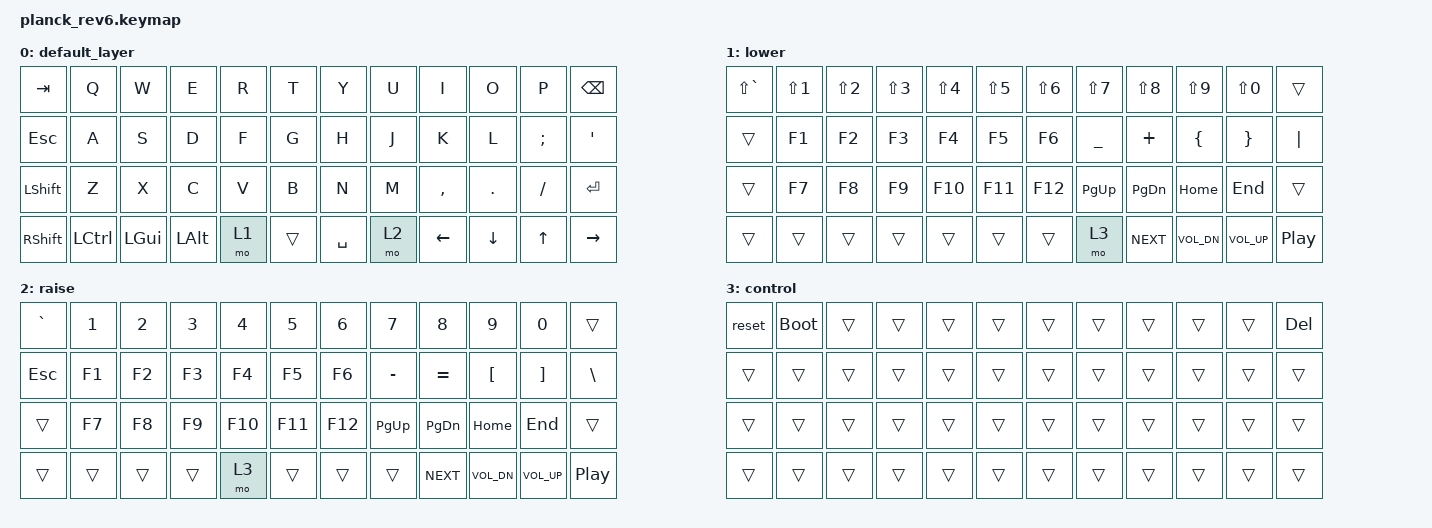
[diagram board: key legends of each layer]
/*
 * Copyright (c) 2020 The ZMK Contributors
 *
 * SPDX-License-Identifier: MIT
 */

#include <behaviors.dtsi>
#include <dt-bindings/zmk/keys.h>
#include <dt-bindings/zmk/dynamic-macros.h>

/ {
    macros {
        dyn: dyn {
			// Usage:
			// 	&dyn RECORD
			// 	&dyn PLAY

            label = "ZM_dynamic-macro";
            compatible = "zmk,behavior-dynamic-macro";
            #binding-cells = <1>;
			// no-output; // do not forward keystrokes to the host while recording
			wait-ms = <10>; // disable so that recorded macros play back in the same speed they were recorded at
        };
    };
};

/ {
	keymap {
		compatible = "zmk,keymap";

		default_layer {
			//┌────────────┬────────────┬───────────┬───────────┬────────┬─────────┬────────────┬────────┬────────────┬───────────┬───────────┬───────────┐
			//│ TAB        │ Q          │ W         │ E         │ R      │ T       │ Y          │ U      │ I          │ O         │ P         │ BSPC      │
			//├────────────┼────────────┼───────────┼───────────┼────────┼─────────┼────────────┼────────┼────────────┼───────────┼───────────┼───────────┤
			//│ ESC        │ A          │ S         │ D         │ F      │ G       │ H          │ J      │ K          │ L         │ ;         │ '         │
			//├────────────┼────────────┼───────────┼───────────┼────────┼─────────┼────────────┼────────┼────────────┼───────────┼───────────┼───────────┤
			//│ SHIFT      │ Z          │ X         │ C         │ V      │ B       │ N          │ M      │ ,          │ .         │ /         │ ENTER     │
			//├────────────┼────────────┼───────────┼───────────┼────────┼─────────┴────────────┼────────┼────────────┼───────────┼───────────┼───────────┤
			//│ RSHIFT     │ LCTL       │ LGUI      │ LALT      │ LOWER  │       SPACE          │ RAISE  │ LEFT       │ DOWN      │ UP        │ RIGHT     │
			//└────────────┴────────────┴───────────┴───────────┴────────┴──────────────────────┴────────┴────────────┴───────────┴───────────┴───────────┘

			bindings = <
				&kp TAB      &kp Q        &kp W       &kp E       &kp R    &kp T     &kp Y        &kp U    &kp I        &kp O       &kp P       &kp BSPC
				&kp ESC      &kp A        &kp S       &kp D       &kp F    &kp G     &kp H        &kp J    &kp K        &kp L       &kp SEMI    &kp SQT
				&kp LSHFT    &kp Z        &kp X       &kp C       &kp V    &kp B     &kp N        &kp M    &kp COMMA    &kp DOT     &kp FSLH    &kp RET
				&kp RSHFT    &kp LCTRL    &kp LGUI    &kp LALT    &mo 1    &trans    &kp SPACE    &mo 2    &kp LEFT     &kp DOWN    &kp UP      &kp RIGHT
			>;
		};

		lower {
			//┌────────────────┬─────────────┬─────────────┬─────────────┬─────────────┬─────────────┬──────────────┬────────────┬─────────────┬───────────────┬───────────────┬───────────┐
			//│ ~              │ !           │ @           │ #           │ $           │ %           │ ^            │ &          │ *           │ (             │ )             │           │
			//├────────────────┼─────────────┼─────────────┼─────────────┼─────────────┼─────────────┼──────────────┼────────────┼─────────────┼───────────────┼───────────────┼───────────┤
			//│                │ F1          │ F2          │ F3          │ F4          │ F5          │ F6           │ J          │ K           │ L             │ ;             │ PIPE      │
			//├────────────────┼─────────────┼─────────────┼─────────────┼─────────────┼─────────────┼──────────────┼────────────┼─────────────┼───────────────┼───────────────┼───────────┤
			//│                │ F7          │ F8          │ F9          │ F10         │ F11         │ F12          │ PAGEUP     │ PAGEDN      │ HOME          │ END           │           │
			//├────────────────┼─────────────┼─────────────┼─────────────┼─────────────┼─────────────┴──────────────┼────────────┼─────────────┼───────────────┼───────────────┼───────────┤
			//│                │             │             │             │             │                            │ CONTROL    │ NEXT        │ VOLDN         │ VOLUP         │ PAUSE     │
			//└────────────────┴─────────────┴─────────────┴─────────────┴─────────────┴────────────────────────────┴────────────┴─────────────┴───────────────┴───────────────┴───────────┘

			bindings = <
				&kp LS(GRAVE)    &kp LS(N1)    &kp LS(N2)    &kp LS(N3)    &kp LS(N4)    &kp LS(N5)    &kp LS(N6)    &kp LS(N7)    &kp LS(N8)    &kp LS(N9)      &kp LS(N0)      &trans
				&trans           &kp F1        &kp F2        &kp F3        &kp F4        &kp F5        &kp F6        &kp UNDER     &kp PLUS      &kp LBRC        &kp RBRC        &kp PIPE
				&trans           &kp F7        &kp F8        &kp F9        &kp F10       &kp F11       &kp F12       &kp PG_UP     &kp PG_DN     &kp HOME        &kp END         &trans
				&trans           &trans        &trans        &trans        &trans        &trans        &trans        &mo 3         &kp C_NEXT    &kp C_VOL_DN    &kp C_VOL_UP    &kp C_PP
			>;
		};


		raise {
			//┌────────────┬─────────┬─────────┬─────────┬──────────┬──────────┬──────────┬────────────┬─────────────┬───────────────┬───────────────┬───────────┐
			//│ `          │ 1       │ 2       │ 3       │ 4        │ 5        │ 6        │ 7          │ 8           │ 9             │ 0             │           │
			//├────────────┼─────────┼─────────┼─────────┼──────────┼──────────┼──────────┼────────────┼─────────────┼───────────────┼───────────────┼───────────┤
			//│            │ F1      │ F2      │ F3      │ F4       │ F5       │ F6       │ -          │ =           │ [             │ ]             │ \         │
			//├────────────┼─────────┼─────────┼─────────┼──────────┼──────────┼──────────┼────────────┼─────────────┼───────────────┼───────────────┼───────────┤
			//│            │ F7      │ F8      │ F9      │ F10      │ F11      │ F12      │ PAGEUP     │ PAGEDN      │ HOME          │ END           │           │
			//├────────────┼─────────┼─────────┼─────────┼──────────┼──────────┴──────────┼────────────┼─────────────┼───────────────┼───────────────┼───────────┤
			//│            │         │         │         │ CONTROL  │                     │            │ NEXT        │ VOLDN         │ VOLUP         │ PAUSE     │
			//└────────────┴─────────┴─────────┴─────────┴──────────┴─────────────────────┴────────────┴─────────────┴───────────────┴───────────────┴───────────┘

			bindings = <
				&kp GRAVE    &kp N1    &kp N2    &kp N3    &kp N4     &kp N5     &kp N6     &kp N7       &kp N8        &kp N9          &kp N0          &trans
				&kp ESC      &kp F1    &kp F2    &kp F3    &kp F4     &kp F5     &kp F6     &kp MINUS    &kp EQUAL     &kp LBKT        &kp RBKT        &kp BSLH
				&trans       &kp F7    &kp F8    &kp F9    &kp F10    &kp F11    &kp F12    &kp PG_UP    &kp PG_DN     &kp HOME        &kp END         &trans
				&trans       &trans    &trans    &trans    &mo 3      &trans     &trans     &trans       &kp C_NEXT    &kp C_VOL_DN    &kp C_VOL_UP    &kp C_PP
			>;
		};

		control {
			//┌─────────┬──────────────┬─────────┬─────────┬─────────┬─────────┬─────────┬─────────┬─────────┬─────────┬─────────┬─────────┐
			//│ RESET   │ BOOTLOADER   │         │         │         │         │         │         │         │         │         │ DEL     │
			//├─────────┼──────────────┼─────────┼─────────┼─────────┼─────────┼─────────┼─────────┼─────────┼─────────┼─────────┼─────────┤
			//│         │              │         │         │         │         │         │         │         │         │         │         │
			//├─────────┼──────────────┼─────────┼─────────┼─────────┼─────────┼─────────┼─────────┼─────────┼─────────┼─────────┼─────────┤
			//│         │              │         │         │         │         │         │         │         │         │         │         │
			//├─────────┼──────────────┼─────────┼─────────┼─────────┼─────────┴─────────┼─────────┼─────────┼─────────┼─────────┼─────────┤
			//│         │              │         │         │         │                   │         │         │         │         │         │
			//└─────────┴──────────────┴─────────┴─────────┴─────────┴───────────────────┴─────────┴─────────┴─────────┴─────────┴─────────┘

			bindings = <
				&reset    &bootloader    &trans    &trans    &trans    &trans    &trans    &trans    &trans    &trans    &trans    &kp DEL
				&trans    &trans         &trans    &trans    &trans    &trans    &trans    &trans    &trans    &trans    &trans    &trans
				&trans    &trans         &trans    &trans    &trans    &trans    &trans    &trans    &trans    &trans    &trans    &trans
				&trans    &trans         &trans    &trans    &trans    &trans    &trans    &trans    &trans    &trans    &trans    &trans
			>;
		};
	};
};
